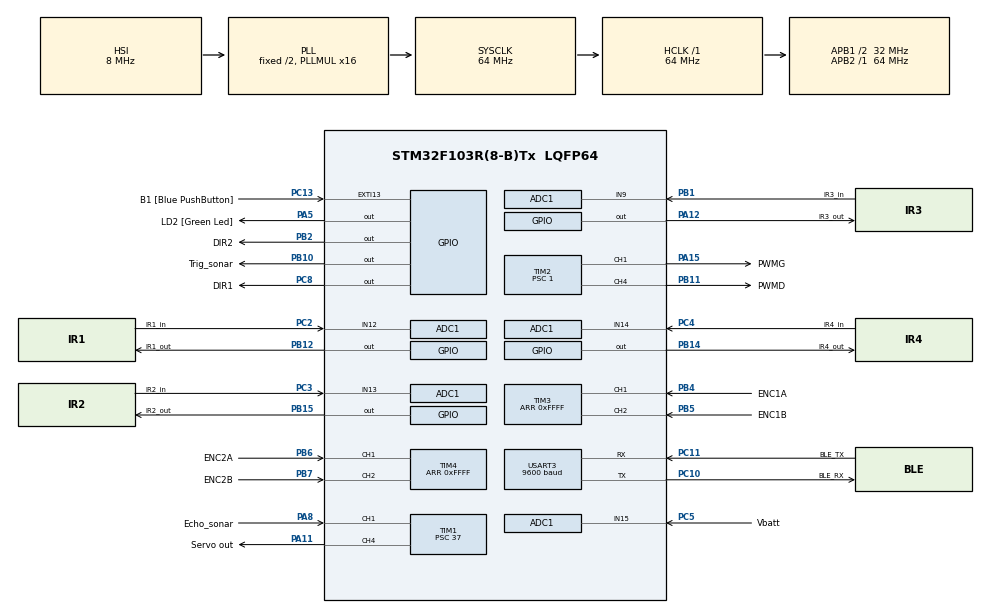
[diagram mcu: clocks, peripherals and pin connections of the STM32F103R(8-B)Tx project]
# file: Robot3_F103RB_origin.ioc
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ADC1.Channel-0\#ChannelRegularConversion=ADC_CHANNEL_9
ADC1.Channel-1\#ChannelRegularConversion=ADC_CHANNEL_12
ADC1.Channel-2\#ChannelRegularConversion=ADC_CHANNEL_13
ADC1.Channel-3\#ChannelRegularConversion=ADC_CHANNEL_14
ADC1.Channel-4\#ChannelRegularConversion=ADC_CHANNEL_9
ADC1.ContinuousConvMode=DISABLE
ADC1.DataAlign=ADC_DATAALIGN_RIGHT
ADC1.DiscontinuousConvMode=DISABLE
ADC1.EnableAnalogWatchDog=false
ADC1.EnableRegularConversion=ENABLE
ADC1.ExternalTrigConv=ADC_SOFTWARE_START
ADC1.InjNumberOfConversion=0
ADC1.NbrOfConversion=5
ADC1.NbrOfConversionFlag=1
ADC1.Rank-0\#ChannelRegularConversion=1
ADC1.Rank-1\#ChannelRegularConversion=2
ADC1.Rank-2\#ChannelRegularConversion=3
ADC1.Rank-3\#ChannelRegularConversion=4
ADC1.Rank-4\#ChannelRegularConversion=5
ADC1.SamplingTime-0\#ChannelRegularConversion=ADC_SAMPLETIME_239CYCLES_5
ADC1.SamplingTime-1\#ChannelRegularConversion=ADC_SAMPLETIME_239CYCLES_5
ADC1.SamplingTime-2\#ChannelRegularConversion=ADC_SAMPLETIME_239CYCLES_5
ADC1.SamplingTime-3\#ChannelRegularConversion=ADC_SAMPLETIME_239CYCLES_5
ADC1.SamplingTime-4\#ChannelRegularConversion=ADC_SAMPLETIME_1CYCLE_5
ADC1.ScanConvMode=ADC_SCAN_ENABLE
ADC1.master=1
Dma.ADC1.0.Direction=DMA_PERIPH_TO_MEMORY
Dma.ADC1.0.Instance=DMA1_Channel1
Dma.ADC1.0.MemDataAlignment=DMA_MDATAALIGN_HALFWORD
Dma.ADC1.0.MemInc=DMA_MINC_ENABLE
Dma.ADC1.0.Mode=DMA_CIRCULAR
Dma.ADC1.0.PeriphDataAlignment=DMA_PDATAALIGN_HALFWORD
Dma.ADC1.0.PeriphInc=DMA_PINC_DISABLE
Dma.ADC1.0.Priority=DMA_PRIORITY_LOW
Dma.Request0=ADC1
Mcu.Family=STM32F1
Mcu.Name=STM32F103R(8-B)Tx
Mcu.Package=LQFP64
NVIC.DMA1_Channel1_IRQn=true\:0\:0\:false\:false\:true\:true
NVIC.EXTI15_10_IRQn=true\:0\:0\:false\:true\:true\:1\:true
NVIC.PriorityGroup=NVIC_PRIORITYGROUP_4
NVIC.TIM1_CC_IRQn=true\:0\:0\:false\:false\:true\:true
NVIC.TIM1_UP_IRQn=true\:0\:0\:false\:false\:true\:true
NVIC.TIM2_IRQn=true\:0\:0\:false\:false\:true\:true
NVIC.TIM4_IRQn=true\:0\:0\:false\:false\:true\:true
NVIC.USART3_IRQn=true\:0\:0\:false\:true\:true\:2\:true
PA11.GPIO_Label=Servo out
PA11.Signal=S_TIM1_CH4
PA12.GPIO_Label=IR3_out
PA12.Signal=GPIO_Output
PA13.GPIO_Label=TMS
PA13.Mode=Serial_Wire
PA13.Signal=SYS_JTMS-SWDIO
PA14.GPIO_Label=TCK
PA14.Mode=Serial_Wire
PA14.Signal=SYS_JTCK-SWCLK
PA15.GPIO_Label=PWMG
PA15.Signal=S_TIM2_CH1_ETR
PA2.GPIO_Label=USART_TX
PA2.GPIO_Mode=GPIO_MODE_AF_PP
PA2.GPIO_PuPd=GPIO_NOPULL
PA2.GPIO_Speed=GPIO_SPEED_FREQ_LOW
PA2.Signal=USART2_TX
PA3.GPIO_Label=USART_RX
PA3.GPIO_Mode=GPIO_MODE_AF_PP
PA3.GPIO_PuPd=GPIO_NOPULL
PA3.GPIO_Speed=GPIO_SPEED_FREQ_LOW
PA3.Signal=USART2_RX
PA5.GPIO_Label=LD2 [Green Led]
PA5.GPIO_ModeDefaultOutputPP=GPIO_MODE_OUTPUT_PP
PA5.GPIO_PuPd=GPIO_NOPULL
PA5.GPIO_Speed=GPIO_SPEED_FREQ_LOW
PA5.Signal=GPIO_Output
PA8.GPIO_Label=Echo_sonar
PA8.Signal=S_TIM1_CH1
PB1.GPIO_Label=IR3_in
PB1.Signal=ADCx_IN9
PB10.GPIO_Label=Trig_sonar
PB10.Signal=GPIO_Output
PB11.GPIO_Label=PWMD
PB11.Signal=S_TIM2_CH4
PB12.GPIO_Label=IR1_out
PB12.Signal=GPIO_Output
PB14.GPIO_Label=IR4_out
PB14.Signal=GPIO_Output
PB15.GPIO_Label=IR2_out
PB15.Signal=GPIO_Output
PB2.GPIO_Label=DIR2
PB2.Signal=GPIO_Output
PB3.GPIO_Label=SWO
PB3.Signal=SYS_JTDO-TRACESWO
PB4.GPIO_Label=ENC1A
PB4.Signal=S_TIM3_CH1
PB5.GPIO_Label=ENC1B
PB5.Signal=S_TIM3_CH2
PB6.GPIO_Label=ENC2A
PB6.Signal=S_TIM4_CH1
PB7.GPIO_Label=ENC2B
PB7.Signal=S_TIM4_CH2
PC10.GPIO_Label=BLE_RX
PC10.Mode=Asynchronous
PC10.Signal=USART3_TX
PC11.GPIO_Label=BLE_TX
PC11.Mode=Asynchronous
PC11.Signal=USART3_RX
PC13-TAMPER-RTC.GPIO_Label=B1 [Blue PushButton]
PC13-TAMPER-RTC.GPIO_ModeDefaultEXTI=GPIO_MODE_IT_FALLING
PC13-TAMPER-RTC.GPIO_PuPd=GPIO_NOPULL
PC13-TAMPER-RTC.Signal=GPXTI13
PC14-OSC32_IN.Signal=RCC_OSC32_IN
PC15-OSC32_OUT.Signal=RCC_OSC32_OUT
PC2.GPIO_Label=IR1_in
PC2.Signal=ADCx_IN12
PC3.GPIO_Label=IR2_in
PC3.Signal=ADCx_IN13
PC4.GPIO_Label=IR4_in
PC4.Signal=ADCx_IN14
PC5.GPIO_Label=Vbatt
PC5.Signal=ADCx_IN15
PC8.GPIO_Label=DIR1
PC8.Signal=GPIO_Output
PD0-OSC_IN.Signal=RCC_OSC_IN
PD1-OSC_OUT.Signal=RCC_OSC_OUT
ProjectManager.HeapSize=0x200
ProjectManager.StackSize=0x400
ProjectManager.TargetToolchain=TrueSTUDIO
RCC.ADCPresc=RCC_ADCPCLK2_DIV8
RCC.AHBFreq_Value=64000000
RCC.APB1CLKDivider=RCC_HCLK_DIV2
RCC.APB1Freq_Value=32000000
RCC.APB1TimFreq_Value=64000000
RCC.APB2Freq_Value=64000000
RCC.APB2TimFreq_Value=64000000
RCC.HCLKFreq_Value=64000000
RCC.PLLMUL=RCC_PLL_MUL16
RCC.SYSCLKFreq_VALUE=64000000
RCC.SYSCLKSource=RCC_SYSCLKSOURCE_PLLCLK
RCC.USBFreq_Value=64000000
SH.ADCx_IN12.0=ADC1_IN12,IN12
SH.ADCx_IN13.0=ADC1_IN13,IN13
SH.ADCx_IN14.0=ADC1_IN14,IN14
SH.ADCx_IN15.0=ADC1_IN15,IN15
SH.ADCx_IN9.0=ADC1_IN9,IN9
SH.S_TIM1_CH1.0=TIM1_CH1,PWM_Input_1
SH.S_TIM1_CH4.0=TIM1_CH4,PWM Generation4 CH4
SH.S_TIM2_CH1_ETR.0=TIM2_CH1,PWM Generation1 CH1
SH.S_TIM2_CH4.0=TIM2_CH4,PWM Generation4 CH4
SH.S_TIM3_CH1.0=TIM3_CH1,Encoder_Interface
SH.S_TIM3_CH2.0=TIM3_CH2,Encoder_Interface
SH.S_TIM4_CH1.0=TIM4_CH1,Encoder_Interface
SH.S_TIM4_CH2.0=TIM4_CH2,Encoder_Interface
TIM1.AutoReloadPreload=TIM_AUTORELOAD_PRELOAD_ENABLE
TIM1.Channel-PWM\ Generation4\ CH4=TIM_CHANNEL_4
TIM1.ICFilter_1=5
TIM1.ICFilter_2=5
TIM1.OCPolarity_4=TIM_OCPOLARITY_HIGH
TIM1.Period=0xFFFF
TIM1.Prescaler=37
TIM1.TIM_MasterOutputTrigger=TIM_TRGO_RESET
TIM2.AutoReloadPreload=TIM_AUTORELOAD_PRELOAD_DISABLE
TIM2.Channel-PWM\ Generation1\ CH1=TIM_CHANNEL_1
TIM2.Channel-PWM\ Generation4\ CH4=TIM_CHANNEL_4
TIM2.Period=64000
TIM2.Prescaler=1
TIM3.AutoReloadPreload=TIM_AUTORELOAD_PRELOAD_ENABLE
TIM3.EncoderMode=TIM_ENCODERMODE_TI12
TIM3.IC1Filter=8
TIM3.IC1Polarity=TIM_ICPOLARITY_RISING
TIM3.IC2Filter=8
TIM3.IC2Polarity=TIM_ICPOLARITY_RISING
TIM3.Period=0xFFFF
TIM4.AutoReloadPreload=TIM_AUTORELOAD_PRELOAD_ENABLE
TIM4.EncoderMode=TIM_ENCODERMODE_TI12
TIM4.IC1Filter=8
TIM4.IC1Polarity=TIM_ICPOLARITY_RISING
TIM4.IC2Filter=8
TIM4.IC2Polarity=TIM_ICPOLARITY_RISING
TIM4.Period=0xFFFF
USART3.BaudRate=9600
USART3.VirtualMode=VM_ASYNC
VP_TIM1_VS_ClockSourceINT.Mode=Internal
VP_TIM2_VS_ClockSourceINT.Mode=Internal
board=NUCLEO-F103RB

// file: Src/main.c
/**
  ******************************************************************************
  * @file           : main.c
  * @brief          : Main program body
  ******************************************************************************
  ** This notice applies to any and all portions of this file
  * that are not between comment pairs USER CODE BEGIN and
  * USER CODE END. Other portions of this file, whether
  * inserted by the user or by software development tools
  * are owned by their respective copyright owners.
  *
  * COPYRIGHT(c) 2020 STMicroelectronics
  *
  * Redistribution and use in source and binary forms, with or without modification,
  * are permitted provided that the following conditions are met:
  *   1. Redistributions of source code must retain the above copyright notice,
  *      this list of conditions and the following disclaimer.
  *   2. Redistributions in binary form must reproduce the above copyright notice,
  *      this list of conditions and the following disclaimer in the documentation
  *      and/or other materials provided with the distribution.
  *   3. Neither the name of STMicroelectronics nor the names of its contributors
  *      may be used to endorse or promote products derived from this software
  *      without specific prior written permission.
  *
  * THIS SOFTWARE IS PROVIDED BY THE COPYRIGHT HOLDERS AND CONTRIBUTORS "AS IS"
  * AND ANY EXPRESS OR IMPLIED WARRANTIES, INCLUDING, BUT NOT LIMITED TO, THE
  * IMPLIED WARRANTIES OF MERCHANTABILITY AND FITNESS FOR A PARTICULAR PURPOSE ARE
  * DISCLAIMED. IN NO EVENT SHALL THE COPYRIGHT HOLDER OR CONTRIBUTORS BE LIABLE
  * FOR ANY DIRECT, INDIRECT, INCIDENTAL, SPECIAL, EXEMPLARY, OR CONSEQUENTIAL
  * DAMAGES (INCLUDING, BUT NOT LIMITED TO, PROCUREMENT OF SUBSTITUTE GOODS OR
  * SERVICES; LOSS OF USE, DATA, OR PROFITS; OR BUSINESS INTERRUPTION) HOWEVER
  * CAUSED AND ON ANY THEORY OF LIABILITY, WHETHER IN CONTRACT, STRICT LIABILITY,
  * OR TORT (INCLUDING NEGLIGENCE OR OTHERWISE) ARISING IN ANY WAY OUT OF THE USE
  * OF THIS SOFTWARE, EVEN IF ADVISED OF THE POSSIBILITY OF SUCH DAMAGE.
  *
  ******************************************************************************
  */
#include "main.h"
#include "stm32f1xx_hal.h"
#include "adc.h"
#include "dma.h"
#include "tim.h"
#include "usart.h"
#include "gpio.h"

/* USER CODE BEGIN Includes */
#include <stdlib.h>
#include <stdio.h>
#include <stdbool.h>
/* USER CODE END Includes */

/* USER CODE BEGIN PV */
/* Private variables ---------------------------------------------------------*/
#define AVANCE 	GPIO_PIN_SET
#define RECULE  GPIO_PIN_RESET
#define POURCENT 640
#define Seuil_Dist_4 1600 // correspond à 10 cm.
#define Seuil_Dist_3 1600
#define Seuil_Dist_1 1600
#define Seuil_Dist_2 1600
#define V1 38
#define V2 56
#define V3 76
#define Vmax 95
#define T_2_S 1000 //( pwm période = 2 ms )
#define T_200_MS 100
#define T_2000_MS 1000
#define CKp_D 100  //80 Robot1
#define CKp_G 100  //80 Robot1
#define CKi_D 80  //50 Robot1
#define CKi_G 80  //50 Robot1
#define CKd_D 0
#define CKd_G 0
#define DELTA 0x50
#define FRONT 0
#define LEFT 180
#define RIGHT 90

#define POLLING_ON 0
#define POLLING_OFF 1
#define UNIQUE 2

#define seuil_batterie 2599 //12bits => 4096	3.3V => 4096	5.2V => seuil

enum CMDE {
	START,
	STOP,
	AVANT,
	ARRIERE,
	DROITE,
	GAUCHE,
	PARK,
	MOVPARK
};
volatile enum CMDE CMDE;
enum MODE {
	SLEEP, ACTIF
};
volatile enum MODE Mode;
volatile unsigned char New_CMDE = 0;
volatile uint16_t Dist_ACS_1, Dist_ACS_2, Dist_ACS_3, Dist_ACS_4;
volatile unsigned int Time = 0;
volatile unsigned int Tech = 0;
uint16_t adc_buffer[10];
uint16_t Buff_Dist[8];
uint8_t BLUE_RX;

uint16_t _DirG, _DirD, CVitG, CVitD, DirD, DirG;
uint16_t _CVitD = 0;
uint16_t _CVitG = 0;
uint16_t VitD, VitG, DistD, DistG;
uint16_t DistD_old = 0;
uint16_t DistG_old = 0;
int Cmde_VitD = 0;
int Cmde_VitG = 0;
unsigned long Dist_parcours = 0;
volatile uint32_t Dist_Obst;
uint32_t Dist_Obst_;
uint32_t Dist_Obst_cm;
uint32_t Dist;
uint8_t UNE_FOIS = 1;
uint32_t OV = 0;

volatile bool alerte_bat;

volatile uint16_t dist_Sonar;
volatile bool sonar_Available = false;
uint8_t etat_sonar;
uint8_t mode_sonar;

volatile uint16_t cptWait = 0;

uint16_t posXYZ [3];

volatile uint16_t cptTurn = 0;
bool turn = false;

/* USER CODE END PV */

void SystemClock_Config(void);
static void MX_NVIC_Init(void);

/* USER CODE BEGIN PFP */
/* Private function prototypes -----------------------------------------------*/
void Gestion_Commandes(void);
void regulateur(void);
void controle(void);
void Calcul_Vit(void);
void ACS(void);
void surveillance_batterie(void);
uint16_t get_sonar_dist_cm(uint8_t mode);
void set_sonar_angle(uint8_t angle);
void wait_state(uint16_t time_ms);
void get_posXYZ(uint16_t posXYZ [3]);
void park(void);
void turn_left(void);
void turn_right(void);
/* USER CODE END PFP */

int main(void)
{

  /* MCU Configuration----------------------------------------------------------*/

  /* Reset of all peripherals, Initializes the Flash interface and the Systick. */
  HAL_Init();

  /* USER CODE BEGIN Init */
  Dist_Obst = 0;

  /* USER CODE END Init */

  /* Configure the system clock */
  SystemClock_Config();

  /* Initialize all configured peripherals */
  MX_GPIO_Init();
  MX_DMA_Init();
  MX_ADC1_Init();
  MX_TIM2_Init();
  MX_TIM3_Init();
  MX_TIM4_Init();
  MX_USART3_UART_Init();
  MX_TIM1_Init();

  /* Initialize interrupts */
  MX_NVIC_Init();
  /* USER CODE BEGIN 2 */
  	HAL_SuspendTick(); // suppresion des Tick interrupt pour le mode sleep.

  	HAL_TIM_IC_Start(&htim1, TIM_CHANNEL_2);
  	HAL_TIM_IC_Start_IT(&htim1, TIM_CHANNEL_2);
  	//HAL_TIM_PWM_Start(&htim1, TIM_CHANNEL_4);	//start PWM servo
  	HAL_TIM_Base_Start_IT(&htim1);

  	HAL_TIM_PWM_Start(&htim2, TIM_CHANNEL_4);  // Start PWM motor
  	HAL_TIM_PWM_Start(&htim2, TIM_CHANNEL_1);
  	CMDE = STOP;
  	New_CMDE = 1;
  	HAL_TIM_Base_Start_IT(&htim2);  // Start IT sur font montant PWM
  	HAL_TIM_Encoder_Start(&htim3, TIM_CHANNEL_ALL);
  	HAL_TIM_Encoder_Start(&htim4, TIM_CHANNEL_ALL);
  	HAL_UART_Receive_IT(&huart3, &BLUE_RX, 1);

  	bool once = true;
  	set_sonar_angle(0);

  	 etat_sonar = FRONT;
  	 __HAL_TIM_SET_COMPARE(&htim1, TIM_CHANNEL_4, 2200); //initialise le sonar vers l'avant
  	turn = true;
  /* USER CODE END 2 */

  /* Infinite loop */
  /* USER CODE BEGIN WHILE */
  while (1)
  {
	  Gestion_Commandes();
	  if(CMDE!=MOVPARK)
		  controle();
	  surveillance_batterie();
	  volatile uint16_t distance = 0;

	  //CMDE = MOVPARK;
	  park();
	  //turn_left();
	  //wait_state(65000);
  /* USER CODE END WHILE */

  }

}

void SystemClock_Config(void)
{

  RCC_OscInitTypeDef RCC_OscInitStruct;
  RCC_ClkInitTypeDef RCC_ClkInitStruct;
  RCC_PeriphCLKInitTypeDef PeriphClkInit;

    /**Initializes the CPU, AHB and APB busses clocks
    */
  RCC_OscInitStruct.OscillatorType = RCC_OSCILLATORTYPE_HSI;
  RCC_OscInitStruct.HSIState = RCC_HSI_ON;
  RCC_OscInitStruct.HSICalibrationValue = 16;
  RCC_OscInitStruct.PLL.PLLState = RCC_PLL_ON;
  RCC_OscInitStruct.PLL.PLLSource = RCC_PLLSOURCE_HSI_DIV2;
  RCC_OscInitStruct.PLL.PLLMUL = RCC_PLL_MUL16;
  if (HAL_RCC_OscConfig(&RCC_OscInitStruct) != HAL_OK)
  {
    _Error_Handler(__FILE__, __LINE__);
  }

    /**Initializes the CPU, AHB and APB busses clocks
    */
  RCC_ClkInitStruct.ClockType = RCC_CLOCKTYPE_HCLK|RCC_CLOCKTYPE_SYSCLK
                              |RCC_CLOCKTYPE_PCLK1|RCC_CLOCKTYPE_PCLK2;
  RCC_ClkInitStruct.SYSCLKSource = RCC_SYSCLKSOURCE_PLLCLK;
  RCC_ClkInitStruct.AHBCLKDivider = RCC_SYSCLK_DIV1;
  RCC_ClkInitStruct.APB1CLKDivider = RCC_HCLK_DIV2;
  RCC_ClkInitStruct.APB2CLKDivider = RCC_HCLK_DIV1;

  if (HAL_RCC_ClockConfig(&RCC_ClkInitStruct, FLASH_LATENCY_2) != HAL_OK)
  {
    _Error_Handler(__FILE__, __LINE__);
  }

  PeriphClkInit.PeriphClockSelection = RCC_PERIPHCLK_ADC;
  PeriphClkInit.AdcClockSelection = RCC_ADCPCLK2_DIV8;
  if (HAL_RCCEx_PeriphCLKConfig(&PeriphClkInit) != HAL_OK)
  {
    _Error_Handler(__FILE__, __LINE__);
  }

    /**Configure the Systick interrupt time
    */
  HAL_SYSTICK_Config(HAL_RCC_GetHCLKFreq()/1000);

    /**Configure the Systick
    */
  HAL_SYSTICK_CLKSourceConfig(SYSTICK_CLKSOURCE_HCLK);

  /* SysTick_IRQn interrupt configuration */
  HAL_NVIC_SetPriority(SysTick_IRQn, 0, 0);
}

/**
  * @brief NVIC Configuration.
  * @retval None
  */
static void MX_NVIC_Init(void)
{
  /* EXTI15_10_IRQn interrupt configuration */
  HAL_NVIC_SetPriority(EXTI15_10_IRQn, 0, 0);
  HAL_NVIC_EnableIRQ(EXTI15_10_IRQn);
  /* USART3_IRQn interrupt configuration */
  HAL_NVIC_SetPriority(USART3_IRQn, 0, 0);
  HAL_NVIC_EnableIRQ(USART3_IRQn);
}

/* USER CODE BEGIN 4 */
void Gestion_Commandes(void) {
	enum ETAT {
		VEILLE,
		ARRET,
		AV1,
		AV2,
		AV3,
		RV1,
		RV2,
		RV3,
		DV1,
		DV2,
		DV3,
		GV1,
		GV2,
		GV3
	};
	static enum ETAT Etat = VEILLE;

if (New_CMDE) {
		New_CMDE = 0;
	switch (CMDE) {
		case STOP: {
			_CVitD = _CVitG = 0;
			// Mise en sommeil: STOP mode , réveil via IT BP1
			Etat = VEILLE;
			Mode = SLEEP;

			break;
		}
		case START: {
			// réveil sytème grace à l'IT BP1
			Etat = ARRET;
			Mode = SLEEP;

			break;
		}
		case MOVPARK:{
			switch (Etat) {
			case VEILLE: {
				Etat = VEILLE;
				Mode = SLEEP;
				break;
				}
			case ARRET: {
				Mode = ACTIF;
				break;
				}
			}
			break;
		}
		case AVANT: {
			switch (Etat) {
			case VEILLE: {
				Etat = VEILLE;
				Mode = SLEEP;
				break;
			}
			case ARRET: {
				_DirG = AVANCE;
				_DirD = AVANCE;
				_CVitG = V1;
				_CVitD = V1;
				Etat = AV1;
				Mode = ACTIF;
				break;
			}
			case AV1: {
				_DirG = AVANCE;
				_DirD = AVANCE;
				_CVitG = V2;
				_CVitD = V2;
				Etat = AV2;
				Mode = ACTIF;
				break;
			}
			case AV2: {
				_DirG = AVANCE;
				_DirD = AVANCE;
				_CVitG = V3;
				_CVitD = V3 ;
				Etat = AV3;
				Mode = ACTIF;
				break;
			}
			case AV3: {
				_DirG = AVANCE;
				_DirD = AVANCE;
				_CVitG = V3;
				_CVitD = V3 ;
				Etat = AV3;
				Mode = ACTIF;
				break;
			}
			case RV1: {
				_DirG = RECULE;
				_DirD = RECULE;
				_CVitG = 0;
				_CVitD = 0;
				Etat = ARRET;
				Mode = SLEEP;

				break;
			}
			case RV2: {
				_DirG = RECULE;
				_DirD = RECULE;
				_CVitG = V1;
				_CVitD = V1;
				Etat = RV1;
				Mode = ACTIF;
				break;
			}
			case RV3: {
				_DirG = RECULE;
				_DirD = RECULE;
				_CVitG = V2;
				_CVitD = V2;
				Etat = RV2;
				Mode = ACTIF;
				break;
			}
			case DV1: {
				_DirG = AVANCE;
				_DirD = AVANCE;
				_CVitG = V1;
				_CVitD = V1;
				Etat = AV1;
				Mode = ACTIF;
				break;
			}
			case DV2: {
				_DirG = AVANCE;
				_DirD = AVANCE;
				_CVitG = V2;
				_CVitD = V2;
				Etat = AV2;
				Mode = ACTIF;
				break;
			}
			case DV3: {
				_DirG = AVANCE;
				_DirD = AVANCE;
				_CVitG = V3;
				_CVitD = V3;
				Etat = AV3;
				Mode = ACTIF;
				break;
			}
			case GV1: {
				_DirG = AVANCE;
				_DirD = AVANCE;
				_CVitG = V1;
				_CVitD = V1;
				Etat = AV2;
				Mode = ACTIF;
				break;
			}
			case GV2: {
				_DirG = AVANCE;
				_DirD = AVANCE;
				_CVitG = V2;
				_CVitD = V2;
				Etat = AV2;
				Mode = ACTIF;
				break;
			}
			case GV3: {
				_DirG = AVANCE;
				_DirD = AVANCE;
				_CVitG = V3;
				_CVitD = V3;
				Etat = AV3;
				Mode = ACTIF;
				break;
			}
			}
			break;
		}
		case ARRIERE: {
			switch (Etat) {
			case VEILLE: {
				Etat = VEILLE;
				Mode = SLEEP;
				break;
			}
			case ARRET: {
				_DirG = RECULE;
				_DirD = RECULE;
				_CVitG = V1;
				_CVitD = V1;
				Etat = RV1;
				Mode = ACTIF;
				break;
			}
			case AV1: {
				_DirG = AVANCE;
				_DirD = AVANCE;
				_CVitG = 0;
				_CVitD = 0;
				Etat = ARRET;
				Mode = SLEEP;

				break;
			}
			case AV2: {
				_DirG = AVANCE;
				_DirD = AVANCE;
				_CVitG = V1;
				_CVitD = V1;
				Etat = AV1;
				Mode = ACTIF;
				break;
			}
			case AV3: {
				_DirG = AVANCE;
				_DirD = AVANCE;
				_CVitG = V2;
				_CVitD = V2;
				Etat = AV2;
				Mode = ACTIF;
				break;
			}
			case RV1: {
				_DirG = RECULE;
				_DirD = RECULE;
				_CVitG = V2;
				_CVitD = V2;
				Etat = RV2;
				Mode = ACTIF;
				break;
			}
			case RV2: {
				_DirG = RECULE;
				_DirD = RECULE;
				_CVitG = V3;
				_CVitD = V3;
				Etat = RV3;
				Mode = ACTIF;
				break;
			}
			case RV3: {
				_DirG = RECULE;
				_DirD = RECULE;
				_CVitG = V3;
				_CVitD = V3;
				Etat = RV3;
				Mode = ACTIF;
				break;
			}
			case DV1: {
				_DirG = RECULE;
				_DirD = RECULE;
				_CVitG = V1;
				_CVitD = V1;
				Etat = RV1;
				Mode = ACTIF;
				break;
			}
			case DV2: {
				_DirG = RECULE;
				_DirD = RECULE;
				_CVitG = V2;
				_CVitD = V2;
				Etat = RV2;
				Mode = ACTIF;
				break;
			}
			case DV3: {
				_DirG = RECULE;
				_DirD = RECULE;
				_CVitG = V3;
				_CVitD = V3;
				Etat = RV3;
				Mode = ACTIF;
				break;
			}
			case GV1: {
				_DirG = RECULE;
				_DirD = RECULE;
				_CVitG = V1;
				_CVitD = V1;
				Etat = RV1;
				Mode = ACTIF;
				break;
			}
			case GV2: {
				_DirG = RECULE;
				_DirD = RECULE;
				_CVitG = V2;
				_CVitD = V2;
				Etat = RV2;
				Mode = ACTIF;
				break;
			}
			case GV3: {
				_DirG = RECULE;
				_DirD = RECULE;
				_CVitG = V3;
				_CVitD = V3;
				Etat = RV3;
				Mode = ACTIF;
				break;
			}
			}
			break;
		}
		case DROITE: {
			switch (Etat) {
			case VEILLE: {
				Etat = VEILLE;
				Mode = SLEEP;
				break;
			}
			case ARRET: {
				_DirG = AVANCE;
				_DirD = RECULE;
				_CVitG = V1;
				_CVitD = V1;
				Etat = DV1;
				Mode = ACTIF;
				break;
			}
			case AV1: {
				_DirG = AVANCE;
				_DirD = RECULE;
				_CVitG = V1;
				_CVitD = V1;
				Etat = DV1;
				Mode = ACTIF;
				break;
			}
			case AV2: {
				_DirG = AVANCE;
				_DirD = RECULE;
				_CVitG = V2;
				_CVitD = V2;
				Etat = DV2;
				Mode = ACTIF;
				break;
			}
			case AV3: {
				_DirG = AVANCE;
				_DirD = RECULE;
				_CVitG = V3;
				_CVitD = V3;
				Etat = DV3;
				Mode = ACTIF;
				break;
			}
			case RV1: {
				_DirG = AVANCE;
				_DirD = RECULE;
				_CVitG = V1;
				_CVitD = V1;
				Etat = DV1;
				Mode = ACTIF;
				break;
			}
			case RV2: {
				_DirG = AVANCE;
				_DirD = RECULE;
				_CVitG = V2;
				_CVitD = V2;
				Etat = DV2;
				Mode = ACTIF;
				break;
			}
			case RV3: {
				_DirG = AVANCE;
				_DirD = RECULE;
				_CVitG = V3;
				_CVitD = V3;
				Etat = DV3;
				Mode = ACTIF;
				break;
			}
			case DV1: {
				_DirG = AVANCE;
				_DirD = RECULE;
				_CVitG = V2;
				_CVitD = V2;
				Etat = DV2;
				Mode = ACTIF;
				break;
			}
			case DV2: {
				_DirG = AVANCE;
				_DirD = RECULE;
				_CVitG = V3;
				_CVitD = V3;
				Etat = DV3;
				Mode = ACTIF;
				break;
			}
			case DV3: {
				_DirG = AVANCE;
				_DirD = RECULE;
				_CVitG = V3;
				_CVitD = V3;
				Etat = DV3;
				Mode = ACTIF;
				break;
			}
			case GV1: {
				_DirG = RECULE;
				_DirD = RECULE;
				_CVitG = 0;
				_CVitD = 0;
				Etat = ARRET;
				Mode = SLEEP;

				break;
			}
			case GV2: {
				_DirG = RECULE;
				_DirD = AVANCE;
				_CVitG = V1;
				_CVitD = V1;
				Etat = GV1;
				Mode = ACTIF;
				break;
			}
			case GV3: {
				_DirG = RECULE;
				_DirD = AVANCE;
				_CVitG = V2;
				_CVitD = V2;
				Etat = GV2;
				Mode = ACTIF;
				break;
			}
			}
			break;
		}
		case GAUCHE: {
			switch (Etat) {
			case VEILLE: {
				Etat = VEILLE;
				Mode = SLEEP;
				break;
			}
			case ARRET: {
				_DirG = RECULE;
				_DirD = AVANCE;
				_CVitG = V1;
				_CVitD = V1;
				Etat = GV1;
				Mode = ACTIF;
				break;
			}
			case AV1: {
				_DirG = RECULE;
				_DirD = AVANCE;
				_CVitG = V1;
				_CVitD = V1;
				Etat = GV1;
				Mode = ACTIF;
				break;
			}
			case AV2: {
				_DirG = RECULE;
				_DirD = AVANCE;
				_CVitG = V2;
				_CVitD = V2;
				Etat = GV2;
				Mode = ACTIF;
				break;
			}
			case AV3: {
				_DirG = RECULE;
				_DirD = AVANCE;
				_CVitG = V3;
				_CVitD = V3;
				Etat = GV3;
				Mode = ACTIF;
				break;
			}
			case RV1: {
				_DirG = RECULE;
				_DirD = AVANCE;
				_CVitG = V1;
				_CVitD = V1;
				Etat = GV1;
				Mode = ACTIF;
				break;
			}
			case RV2: {
				_DirG = RECULE;
				_DirD = AVANCE;
				_CVitG = V2;
				_CVitD = V2;
				Etat = GV2;
				Mode = ACTIF;
				break;
			}
			case RV3: {
				_DirG = RECULE;
				_DirD = AVANCE;
				_CVitG = V3;
				_CVitD = V3;
				Etat = GV3;
				Mode = ACTIF;
				break;
			}
			case DV1: {
				_DirG = RECULE;
				_DirD = RECULE;
				_CVitG = 0;
				_CVitD = 0;
				Etat = ARRET;
				Mode = SLEEP;

				break;
			}
			case DV2: {
				_DirG = AVANCE;
				_DirD = RECULE;
				_CVitG = V1;
				_CVitD = V1;
				Etat = DV1;
				Mode = ACTIF;
				break;
			}
			case DV3: {
				_DirG = AVANCE;
				_DirD = RECULE;
				_CVitG = V2;
				_CVitD = V2;
				Etat = DV2;
				Mode = ACTIF;
				break;
			}
			case GV1: {
				_DirG = RECULE;
				_DirD = AVANCE;
				_CVitG = V2;
				_CVitD = V2;
				Etat = GV2;
				Mode = ACTIF;
				break;
			}
			case GV2: {
				_DirG = RECULE;
				_DirD = AVANCE;
				_CVitG = V3;
				_CVitD = V3;
				Etat = GV3;
				Mode = ACTIF;
				break;
			}
			case GV3: {
				_DirG = RECULE;
				_DirD = AVANCE;
				_CVitG = V3;
				_CVitD = V3;
				Etat = GV3;
				Mode = ACTIF;
				break;
			}
			}
			break;

		}
	}
}
}
void controle(void) {

	if (Tech >= T_200_MS) {
		Tech = 0;
		ACS();
		Calcul_Vit();
		regulateur();
	}

}

void ACS(void) {
	enum ETAT {
		ARRET, ACTIF
	};
	static enum ETAT Etat = ARRET;
	static uint16_t Delta1 = 0;
	static uint16_t Delta2 = 0;
	static uint16_t Delta3 = 0;
	static uint16_t Delta4 = 0;

	switch (Etat) {
	case ARRET: {
		if (Mode == ACTIF )
			Etat = ACTIF;
		else {
			CVitD = _CVitD;
			CVitG = _CVitG;
			DirD = _DirD;
			DirG = _DirG;
		}
		break;
	}
	case ACTIF: {
		if (Mode == SLEEP)
			Etat = ARRET;
		if (_DirD == AVANCE && _DirG == AVANCE) {
			if ((Dist_ACS_1 < Seuil_Dist_1 - Delta1)
					&& (Dist_ACS_2 < Seuil_Dist_2 - Delta2)) {
				CVitD = _CVitD;
				CVitG = _CVitG;
				DirD = _DirD;
				DirG = _DirG;
				Delta1 = Delta2 = 0;
			} else if ((Dist_ACS_1 < Seuil_Dist_1)
					&& (Dist_ACS_2 > Seuil_Dist_2)) {
				CVitD = V1;
				CVitG = V1;
				DirG = AVANCE;
				DirD = RECULE;
				Delta2 = DELTA;
			} else if ((Dist_ACS_1 > Seuil_Dist_1)
					&& (Dist_ACS_2 < Seuil_Dist_2)) {
				CVitD = V1;
				CVitG = V1;
				DirD = AVANCE;
				DirG = RECULE;
				Delta1 = DELTA;
			} else if ((Dist_ACS_1 > Seuil_Dist_1)
					&& (Dist_ACS_2 > Seuil_Dist_2)) {
				CVitD = 0;
				CVitG = 0;
				DirD = RECULE;
				DirG = RECULE;
			}
		} else if (_DirD == RECULE && _DirG == RECULE) {
			if ((Dist_ACS_3 < Seuil_Dist_3 - Delta3)
					&& (Dist_ACS_4 < Seuil_Dist_4 - Delta4)) {
				CVitD = _CVitD;
				CVitG = _CVitG;
				DirD = _DirD;
				DirG = _DirG;
				Delta3 = Delta4 = 0;
			} else if ((Dist_ACS_3 > Seuil_Dist_3)
					&& (Dist_ACS_4 < Seuil_Dist_4)) {
				CVitD = V1;
				CVitG = V1;
				DirD = AVANCE;
				DirG = RECULE;
				Delta3 = DELTA;
			} else if ((Dist_ACS_3 < Seuil_Dist_3)
					&& (Dist_ACS_4 > Seuil_Dist_4)) {
				CVitD = V1;
				CVitG = V1;
				DirG = AVANCE;
				DirD = RECULE;
				Delta4 = DELTA;
			} else if ((Dist_ACS_3 > Seuil_Dist_3)
					&& (Dist_ACS_4 > Seuil_Dist_4)) {
				CVitD = 0;
				CVitG = 0;
				DirD = RECULE;
				DirG = RECULE;
			}
		} else {
			CVitD = _CVitD;
			CVitG = _CVitG;
			DirD = _DirD;
			DirG = _DirG;
		}
		break;
	}
	}
}

void Calcul_Vit(void) {

	DistD = __HAL_TIM_GET_COUNTER(&htim3);
	DistG = __HAL_TIM_GET_COUNTER(&htim4);
	VitD = abs(DistD - DistD_old);
	VitG = abs(DistG - DistG_old);
	DistD_old = DistD;
	DistG_old = DistG;
	if (DirD == DirG) {
		Dist_parcours = Dist_parcours + ((VitD + VitG) >> 1);
	}
}

void surveillance_batterie(void)
{
	volatile uint16_t Vbat = (uint16_t)( adc_buffer[4]+adc_buffer[9])/2;
	if (Vbat < seuil_batterie)
	{
		HAL_GPIO_WritePin(LD2_GPIO_Port,LD2_Pin,GPIO_PIN_SET);
		alerte_bat =1;
	}
	else
	{
		HAL_GPIO_WritePin(LD2_GPIO_Port,LD2_Pin,GPIO_PIN_RESET);
		alerte_bat =0;
	}
}

void regulateur(void) {
	enum ETAT {
		ARRET, ACTIF
	};
	static enum ETAT Etat = ARRET;
	uint16_t Kp_D = CKp_D;
	uint16_t Kp_G = CKp_G;
	uint16_t Ki_D = CKi_D;
	uint16_t Ki_G = CKi_G;
	uint16_t Kd_D = CKd_D;
	uint16_t Kd_G = CKd_G;

	static int16_t ErreurD = 0;
	static int16_t ErreurG = 0;
	static int16_t ErreurD_old = 0;
	static int16_t ErreurG_old = 0;
	static int16_t S_erreursD = 0;
	static int16_t S_erreursG = 0;
	static int16_t V_erreurD = 0;
	static int16_t V_erreurG = 0;

	switch (Etat) {
	case ARRET: {
		if (Mode == ACTIF)
			Etat = ACTIF;
		else {
			__HAL_TIM_SET_COMPARE(&htim2, TIM_CHANNEL_4, 0);
			__HAL_TIM_SET_COMPARE(&htim2, TIM_CHANNEL_1, 0);
			HAL_TIM_PWM_Stop(&htim2, TIM_CHANNEL_4);
			HAL_TIM_PWM_Stop(&htim2, TIM_CHANNEL_1);
			HAL_GPIO_WritePin(IR3_out_GPIO_Port, IR3_out_Pin, GPIO_PIN_RESET);
			HAL_GPIO_WritePin(IR4_out_GPIO_Port, IR4_out_Pin, GPIO_PIN_RESET);
			HAL_GPIO_WritePin(IR1_out_GPIO_Port, IR1_out_Pin, GPIO_PIN_RESET);
			HAL_GPIO_WritePin(IR2_out_GPIO_Port, IR2_out_Pin, GPIO_PIN_RESET);

			HAL_PWR_EnterSLEEPMode(PWR_LOWPOWERREGULATOR_ON,
					PWR_SLEEPENTRY_WFI);

			__HAL_TIM_SET_COMPARE(&htim2, TIM_CHANNEL_4, 0);
			__HAL_TIM_SET_COMPARE(&htim2, TIM_CHANNEL_1, 0);
			HAL_TIM_PWM_Start(&htim2, TIM_CHANNEL_4);
			HAL_TIM_PWM_Start(&htim2, TIM_CHANNEL_1);
			Time = 0;
		}
		break;
	}
	case ACTIF: {
		if ((CVitD != 0) && (CVitG != 0))
			Time = 0;
		if ((Mode == SLEEP) && (VitD == 0) && (VitG == 0) && Time > T_2_S)
			Etat = ARRET;
		else {
			ErreurD = CVitD - VitD;
			ErreurG = CVitG - VitG;
			S_erreursD += ErreurD;
			S_erreursG += ErreurG;
			V_erreurD = ErreurD - ErreurD_old;
			V_erreurG = ErreurG - ErreurG_old;
			ErreurD_old = ErreurD;
			ErreurG_old = ErreurG;
			Cmde_VitD = (unsigned int) Kp_D * (int) (ErreurD)
					+ (unsigned int) Ki_D * ((int) S_erreursD)
					+ (unsigned int) Kd_D * (int) V_erreurD;
			Cmde_VitG = (unsigned int) Kp_G * (int) (ErreurG)
					+ (unsigned int) Ki_G * ((int) S_erreursG)
					+ (unsigned int) Kd_G * (int) V_erreurG;

			//Cmde_VitD = _CVitD*640;
			//Cmde_VitG = _CVitG*640;
			//	DirD = _DirD;
			//	DirG= _DirG;

			if (Cmde_VitD < 0)
				Cmde_VitD = 0;
			if (Cmde_VitG < 0)
				Cmde_VitG = 0;
			if (Cmde_VitD > 100 * POURCENT)
				Cmde_VitD = 100 * POURCENT;
			if (Cmde_VitG > 100 * POURCENT)
				Cmde_VitG = 100 * POURCENT;
			__HAL_TIM_SET_COMPARE(&htim2, TIM_CHANNEL_1, (uint16_t ) Cmde_VitG);
			__HAL_TIM_SET_COMPARE(&htim2, TIM_CHANNEL_4, (uint16_t ) Cmde_VitD);
			HAL_GPIO_WritePin(DIR1_GPIO_Port, DIR1_Pin, (GPIO_PinState) DirD);
			HAL_GPIO_WritePin(DIR2_GPIO_Port, DIR2_Pin, (GPIO_PinState) DirG);

		}
		break;
	}
	}
}

uint16_t get_sonar_dist_cm(uint8_t mode){
	uint16_t dist;

	if(mode == UNIQUE || mode == POLLING_ON){
		HAL_GPIO_WritePin(GPIOB,Trig_sonar_Pin, GPIO_PIN_SET);
		mode_sonar = mode;

		if (mode == UNIQUE){
			while (!sonar_Available){};
			dist = dist_Sonar;
			sonar_Available = false;
		}
	}
	else
		HAL_GPIO_WritePin(GPIOB,Trig_sonar_Pin, GPIO_PIN_SET);

	return dist;
}

void set_sonar_angle(uint8_t angle){
	if(angle != etat_sonar){

		switch (angle){
			case(FRONT):
				__HAL_TIM_SET_COMPARE(&htim1, TIM_CHANNEL_4, 2200);	//0.0015*(64*10^6/37)
				etat_sonar = FRONT;
				break;
			case(LEFT):
				__HAL_TIM_SET_COMPARE(&htim1, TIM_CHANNEL_4, 4000);	//0.0015*(64*10^6/37)
				etat_sonar = LEFT;
				break;
			case(RIGHT):
				__HAL_TIM_SET_COMPARE(&htim1, TIM_CHANNEL_4, 815);	//0.0015*(64*10^6/37)
				etat_sonar = RIGHT;
				break;
			default:
				break;
			}
		HAL_TIM_PWM_Start(&htim1, TIM_CHANNEL_4);	//start PWM servo
		wait_state(1000);
		HAL_TIM_PWM_Stop(&htim1, TIM_CHANNEL_4);	//start PWM servo
	}
}

void get_posXYZ(uint16_t *pposXYZ){
	set_sonar_angle(FRONT);
	pposXYZ[0] = get_sonar_dist_cm(UNIQUE);
	set_sonar_angle(LEFT);
	pposXYZ[1] = get_sonar_dist_cm(UNIQUE);
	set_sonar_angle(RIGHT);
	pposXYZ[2] = get_sonar_dist_cm(UNIQUE);
	set_sonar_angle(FRONT);
}

void wait_state(uint16_t time_ms){
	cptWait = (uint16_t)time_ms / 37;
	while (cptWait>0);
}

void park(void){
	if (CMDE == PARK){
		static bool firstTime = 1;
		if(firstTime){
			firstTime = 0;
			get_posXYZ(posXYZ);
		}
	}
	else if(CMDE == MOVPARK){
		static volatile int8_t posOK = 3;	// 3 = none ok, 2 = x ok, 1 = xy ok, 0 = everything ok
		static uint8_t turnLeftOrRight = 0;	//first left 1, first right 2
		static uint16_t actualPosXYZ [3]= {0,0,0}; // dist x y z
		if(!actualPosXYZ[0]){
			get_posXYZ(actualPosXYZ);
			dist_Sonar = 655535;
		}

		if(posOK>=0){
			controle();
			set_sonar_angle(FRONT);

			switch(posOK){
				case 3 :{
					get_sonar_dist_cm(POLLING_ON);
					actualPosXYZ[0] = dist_Sonar;
					if(actualPosXYZ[0]>posXYZ[0]){
						_DirG = AVANCE;
						_DirD = AVANCE;
						if(actualPosXYZ[0]-posXYZ[0]>50){
							_CVitG = V2;
							_CVitD = V2;
						}
						else{
						_CVitG = V1;
						_CVitD = V1;
						}
						//Etat = AV1;
						//Mode = ACTIF;
					}
					else{
						get_sonar_dist_cm(POLLING_OFF);
						_DirG = AVANCE;
						_DirD = AVANCE;
						_CVitG = 0;
						_CVitD = 0;
						//Etat = ARRET;
						__HAL_TIM_SET_COMPARE(&htim2, TIM_CHANNEL_4, 0);
						__HAL_TIM_SET_COMPARE(&htim2, TIM_CHANNEL_1, 0);
						//Mode = SLEEP;
						posOK = 2;
					}
					break;
				}
				case 2 :{
					static bool turnFinnished = false;

					if(!turnFinnished){
						if(actualPosXYZ[1]>posXYZ[1]){		//turn left
							turnLeftOrRight = 1;
							turn_left();
							if(turn == false)
								turnFinnished = true;
						}
						else if(actualPosXYZ[1]<posXYZ[1]){	//turn right
							turnLeftOrRight = 2;
							turn_right();
							if(turn == false)
								turnFinnished = true;
						}
					}
					else{
						get_sonar_dist_cm(POLLING_ON);
						actualPosXYZ[turnLeftOrRight] = dist_Sonar;
						if(actualPosXYZ[turnLeftOrRight]>posXYZ[turnLeftOrRight]){

							if(actualPosXYZ[turnLeftOrRight]-posXYZ[turnLeftOrRight] > 50){
								_CVitG = V2;
								_CVitD = V2;
							}
							else{
							_CVitG = V1;
							_CVitD = V1;
							}
							_DirG = AVANCE;
							_DirD = AVANCE;
							//Etat = AV1;
							//Mode = ACTIF;
						}
						else{
							get_sonar_dist_cm(POLLING_OFF);
							_DirG = AVANCE;
							_DirD = AVANCE;
							_CVitG = 0;
							_CVitD = 0;
							//Etat = ARRET;
							__HAL_TIM_SET_COMPARE(&htim2, TIM_CHANNEL_4, 0);
							__HAL_TIM_SET_COMPARE(&htim2, TIM_CHANNEL_1, 0);
							//Mode = SLEEP;
							posOK = 1;
						}
					}
					break;
				}
				case 1 :{
					static bool turnFinnished = false;

					if(!turnFinnished){
						if(turnLeftOrRight == 1){
							turn_right();
							if(turn == false){
								turnFinnished = true;
							}
						}
						else if(turnLeftOrRight == 2){
							turn_left();
							if(turn == false){
								turnFinnished = true;
							}
						}
					}
					else{
						_DirG = AVANCE;
						_DirD = AVANCE;
						_CVitG = 0;
						_CVitD = 0;
						//Etat = ARRET;
						__HAL_TIM_SET_COMPARE(&htim2, TIM_CHANNEL_4, 0);
						__HAL_TIM_SET_COMPARE(&htim2, TIM_CHANNEL_1, 0);
						//Mode = SLEEP;
						posOK = 0;
					}
					break;
				}
				case 0:{
					static uint16_t cptStop = 65000;
					cptStop --;
					_DirG = AVANCE;
					_DirD = AVANCE;
					_CVitG = 0;
					_CVitD = 0;
					//Etat = ARRET;
					__HAL_TIM_SET_COMPARE(&htim2, TIM_CHANNEL_4, 0);
					__HAL_TIM_SET_COMPARE(&htim2, TIM_CHANNEL_1, 0);
					//Mode = SLEEP;
					if(cptStop == 0){
						posOK = -1;
						cptStop = 65000;
						Mode == SLEEP;
					}
					break;
				}

			}
		}
		else
			get_sonar_dist_cm(POLLING_OFF);
	}
}

void turn_left(void){
	static bool order = 1;

	if(order){
	HAL_TIM_Encoder_Start_IT(&htim4,TIM_CHANNEL_4);
	cptTurn = 250;
	turn = true;
	order = 0;
	}

	if(cptTurn){
		_DirG = RECULE;
		_DirD = AVANCE;
		_CVitG = V1;
		_CVitD = V1;
		Mode = ACTIF;
	}
	else{
		__HAL_TIM_SET_COMPARE(&htim2, TIM_CHANNEL_4, 0);
		__HAL_TIM_SET_COMPARE(&htim2, TIM_CHANNEL_1, 0);
		_DirG = RECULE;
		_DirD = AVANCE;
		_CVitG = 0;
		_CVitD = 0;
		Mode = SLEEP;
		turn = false;
		HAL_TIM_Encoder_Stop_IT(&htim4,TIM_CHANNEL_4);
		HAL_TIM_Encoder_Start(&htim4, TIM_CHANNEL_ALL);
		order = 1;
	}
}

void turn_right(void){
	static bool order = 1;

		if(order){
		HAL_TIM_Encoder_Start_IT(&htim4,TIM_CHANNEL_4);
		cptTurn = 250;
		turn = true;
		order = 0;
		}

	if(cptTurn){
		_DirG = AVANCE;
		_DirD = RECULE;
		_CVitG = V1;
		_CVitD = V1;
		Mode = ACTIF;
	}
	else{
		__HAL_TIM_SET_COMPARE(&htim2, TIM_CHANNEL_4, 0);
		__HAL_TIM_SET_COMPARE(&htim2, TIM_CHANNEL_1, 0);
		_DirG = RECULE;
		_DirD = AVANCE;
		_CVitG = 0;
		_CVitD = 0;
		Mode = SLEEP;
		turn = false;
		HAL_TIM_Encoder_Stop_IT(&htim4,TIM_CHANNEL_4);
		HAL_TIM_Encoder_Start(&htim4, TIM_CHANNEL_ALL);
		order = 1;
	}
}

void HAL_UART_RxCpltCallback(UART_HandleTypeDef *huart) {
	if (huart->Instance == USART3) {

		switch (BLUE_RX) {
		case 'F': {
			CMDE = AVANT;
			New_CMDE = 1;
			break;
		}

		case 'B': {
			CMDE = ARRIERE;
			New_CMDE = 1;
			break;
		}

		case 'L': {
			CMDE = GAUCHE;
			New_CMDE = 1;
			break;
		}

		case 'R': {
			CMDE = DROITE;
			New_CMDE = 1;
			break;
		}

		case 'D':{
			// disconnect bluetooth
			break;
		}

		case 'W':{
			CMDE = PARK;
			New_CMDE = 1;
			break;
		}

		case 'X':{
			CMDE = MOVPARK;
			New_CMDE = 1;
			break;
		}
		default:
			New_CMDE = 0;
		}

		HAL_UART_Receive_IT(&huart3, &BLUE_RX, 1);

	}
}

void HAL_ADC_ConvCpltCallback(ADC_HandleTypeDef *hadc) {

	Dist_ACS_3 = adc_buffer[0] - adc_buffer[5];
	Dist_ACS_4 = adc_buffer[3] - adc_buffer[8];
	Dist_ACS_1 = adc_buffer[1] - adc_buffer[6];
	Dist_ACS_2 = adc_buffer[2] - adc_buffer[7];
	HAL_ADC_Stop_DMA(hadc);
}

void HAL_TIM_PeriodElapsedCallback(TIM_HandleTypeDef * htim) {
	static unsigned char cpt = 0;
	//static unsigned int cpt2 = 0;

	if ( htim->Instance == TIM2) {
		cpt++;
		Time++;
		Tech++;

		switch (cpt) {
		case 1: {
			HAL_GPIO_WritePin(IR3_out_GPIO_Port, IR3_out_Pin, GPIO_PIN_SET);
			HAL_GPIO_WritePin(IR4_out_GPIO_Port, IR4_out_Pin, GPIO_PIN_SET);
			HAL_GPIO_WritePin(IR1_out_GPIO_Port, IR1_out_Pin, GPIO_PIN_SET);
			HAL_GPIO_WritePin(IR2_out_GPIO_Port, IR2_out_Pin, GPIO_PIN_SET);
			break;
		}
		case 2: {
			HAL_ADC_Start_DMA(&hadc1, (uint32_t *) adc_buffer, 10);
			break;
		}
		case 3: {
			HAL_GPIO_WritePin(IR3_out_GPIO_Port, IR3_out_Pin, GPIO_PIN_RESET);
			HAL_GPIO_WritePin(IR4_out_GPIO_Port, IR4_out_Pin, GPIO_PIN_RESET);
			HAL_GPIO_WritePin(IR1_out_GPIO_Port, IR1_out_Pin, GPIO_PIN_RESET);
			HAL_GPIO_WritePin(IR2_out_GPIO_Port, IR2_out_Pin, GPIO_PIN_RESET);
			break;
		}
		case 4: {
			HAL_ADC_Start_DMA(&hadc1, (uint32_t *) adc_buffer, 10);
			break;
		}
		default:
			cpt = 0;
		}
	}
	else if ( htim->Instance == TIM1) {	//every 37ms
		if(cptWait>0){
			cptWait --;
		}
		/*if(turn){
			cptTurn --;
		}*/

		/*cpt2++;
		if(cpt2 == 1){
			set_sonar_angle(-90);
		}
		else if(cpt2 == 25){
			set_sonar_angle(90);
		}
		else if (cpt2 == 50){
			set_sonar_angle(0);
		}
		else if(cpt2 == 75){
			cpt2 = 0;
		}*/
	}
}

void HAL_TIM_IC_CaptureCallback( TIM_HandleTypeDef *htim ){

	if(htim->Instance == TIM1){
		uint16_t capturedValue = HAL_TIM_ReadCapturedValue(htim, TIM_CHANNEL_2);

		dist_Sonar = (uint16_t) capturedValue / 99.8;	//(37/64MHZ)*value = 1cm = 577 us
		sonar_Available = true;

		if (mode_sonar == UNIQUE){
			HAL_GPIO_WritePin(GPIOB,Trig_sonar_Pin, GPIO_PIN_RESET);
		}
	}
	if(htim->Instance == TIM4){
		if(turn){
			cptTurn--;
		}
	}
}

void HAL_GPIO_EXTI_Callback(uint16_t GPIO_Pin) {

	static unsigned char TOGGLE = 0;

	if (TOGGLE)
		CMDE = STOP;
	else
		CMDE = START;
	TOGGLE = ~TOGGLE;
	New_CMDE = 1;

}
/* USER CODE END 4 */

void _Error_Handler(char *file, int line)
{
  while(1)
  {
  }
}

/************************ (C) COPYRIGHT STMicroelectronics *****END OF FILE****/
